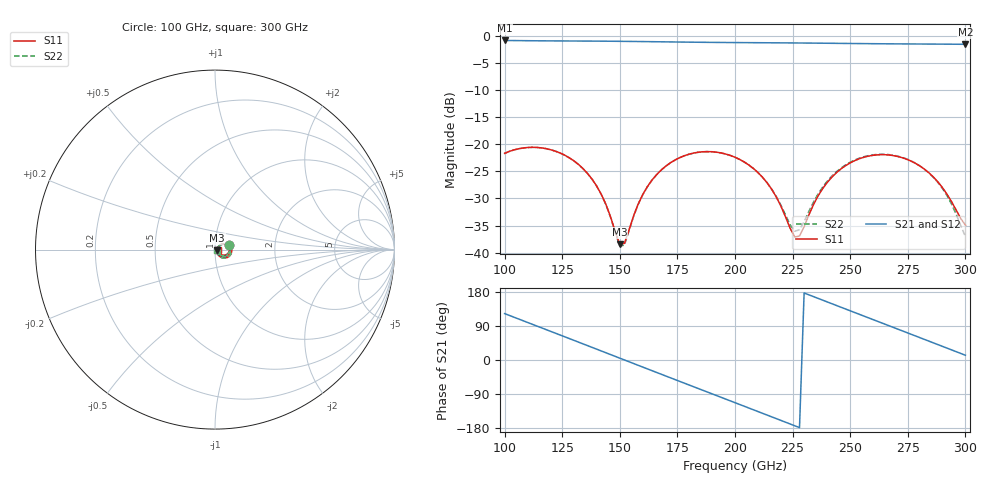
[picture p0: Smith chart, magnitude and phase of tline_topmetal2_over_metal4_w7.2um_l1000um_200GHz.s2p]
#  GHZ S DB R 50
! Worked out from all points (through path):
!   101 points, 100 GHz to 300 GHz, reference 50 ohm
!   highest |S21| = -0.90 dB at 100 GHz (marker M1); lowest = -1.6 dB at 300 GHz (marker M2)
!   group delay of S21, straight-line fit = 6.53 ps
!   lowest |S11| = -38.5 dB at 150 GHz (marker M3), VSWR 1.02, Z = 51.1 - j0.44 ohm
!   |S11| at or under -10 dB: start of sweep to end of sweep
!   |S22| runs from -38.8 to -20.6 dB; largest |S21 - S12| = 1e-13
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100  -21.70 17.3  -0.90 122.5  -0.90 122.5  -21.70 17.1
116  -20.69 -14.9  -0.96 84.9  -0.96 84.9  -20.69 -15.1
124  -21.62 -30.9  -0.98 66.2  -0.98 66.2  -21.62 -31.1
134  -24.50 -49.2  -1.01 42.6  -1.01 42.6  -24.51 -49.6
142  -29.27 -58.3  -1.03 23.8  -1.03 23.8  -29.31 -59.0
150  -38.48 -21.2  -1.05 4.8  -1.05 4.8  -38.80 -21.9
152  -38.29 10.1  -1.06 0.1  -1.06 0.1  -38.60 10.8
160  -29.25 43.4  -1.10 -18.8  -1.10 -18.8  -29.30 44.1
168  -24.76 34.2  -1.14 -37.6  -1.14 -37.6  -24.77 34.6
184  -21.50 4.4  -1.23 -75.2  -1.23 -75.2  -21.51 4.8
200  -22.42 -26.4  -1.28 -112.6  -1.28 -112.6  -22.43 -25.7
214  -27.17 -47.8  -1.32 -145.5  -1.32 -145.5  -27.14 -46.1
226  -37.11 -12.9  -1.36 -173.7  -1.36 -173.7  -36.06 -10.2
228  -36.93 10.6  -1.36 -178.4  -1.36 -178.4  -35.77 9.8
234  -31.21 41.6  -1.39 167.5  -1.39 167.5  -30.74 38.0
240  -27.08 40.6  -1.41 153.3  -1.41 153.3  -26.85 37.6
248  -23.97 29.3  -1.45 134.6  -1.45 134.6  -23.83 26.7
258  -22.20 11.2  -1.49 111.1  -1.49 111.1  -22.11 8.7
268  -22.06 -7.7  -1.52 87.7  -1.52 87.7  -22.00 -10.5
286  -26.02 -36.8  -1.56 45.5  -1.56 45.5  -26.06 -41.9
292  -29.21 -39.7  -1.58 31.4  -1.58 31.4  -29.48 -47.0
300  -34.92 -11.9  -1.61 12.6  -1.61 12.6  -37.02 -20.0
